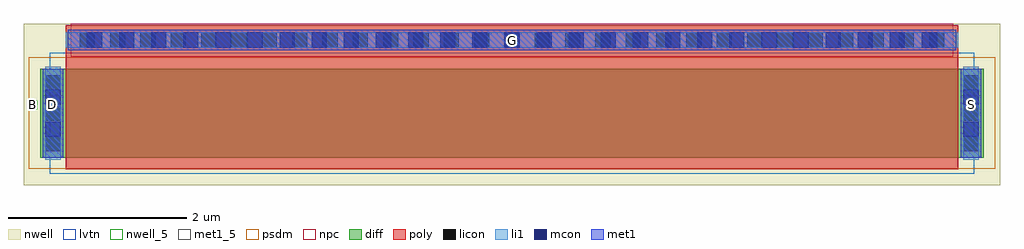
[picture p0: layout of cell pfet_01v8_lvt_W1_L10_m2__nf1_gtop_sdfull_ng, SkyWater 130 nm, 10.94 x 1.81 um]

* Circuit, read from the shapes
.subckt pfet_01v8_lvt_W1_L10_m2__nf1_gtop_sdfull_ng B D G S
XM1 S G D B sky130_fd_pr__pfet_01v8_lvt w=1 l=10
.ends

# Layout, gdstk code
import gdstk
lib = gdstk.Library(unit=1e-6, precision=1e-09)
def R(c, l, rs):  # rectangles x0, y0, x1, y1
    for r in rs: c.add(gdstk.rectangle(r[:2], r[2:], *l))
def A(c, l, x, y, w, h, nx, ny, dx, dy):  # array of equal rectangles
    R(c, l, [(x+i*dx, y+j*dy, x+i*dx+w, y+j*dy+h) for i in range(nx) for j in range(ny)])
nwell_5 = (64, 5)
nwell = (64, 20)
diff = (65, 20)
poly = (66, 20)
licon = (66, 44)
li1 = (67, 20)
mcon = (67, 44)
met1_5 = (68, 5)
met1 = (68, 20)
psdm = (94, 20)
npc = (95, 20)
lvtn = (125, 44)

sky130_fd_pr__pfet_01v8_ = lib.new_cell('sky130_fd_pr__pfet_01v8_lvt_8B8GM3')
R(sky130_fd_pr__pfet_01v8_, nwell, [(-5.47,-0.99,5.47,0.82)])
R(sky130_fd_pr__pfet_01v8_, diff, [(-5.29,-0.68,5.29,0.32)])
R(sky130_fd_pr__pfet_01v8_, poly, [(-5,-0.81,5,0.805)])
A(sky130_fd_pr__pfet_01v8_, licon, -5.23, -0.605, 0.17, 0.17, 1, 3, 0, 0.34)
A(sky130_fd_pr__pfet_01v8_, licon, 5.06, -0.605, 0.17, 0.17, 1, 3, 0, 0.34)
A(sky130_fd_pr__pfet_01v8_, licon, -4.845, 0.555, 0.17, 0.17, 29, 1, 0.34, 0)
R(sky130_fd_pr__pfet_01v8_, li1, [(-5.23,-0.7,-5.06,0.34), (5.06,-0.7,5.23,0.34), (-5,0.555,5,0.725)])
A(sky130_fd_pr__pfet_01v8_, mcon, -4.765, 0.555, 0.17, 0.17, 27, 1, 0.36, 0)
R(sky130_fd_pr__pfet_01v8_, mcon, [(-5.23,-0.445,-5.06,-0.275), (5.06,-0.445,5.23,-0.275), (-5.23,-0.085,-5.06,0.085), (5.06,-0.085,5.23,0.085)])
R(sky130_fd_pr__pfet_01v8_, met1, [(-5.26,-0.68,-5.03,0.32), (5.03,-0.68,5.26,0.32), (-4.98,0.525,4.98,0.755)])
R(sky130_fd_pr__pfet_01v8_, psdm, [(-5.415,-0.805,5.415,0.445)])
R(sky130_fd_pr__pfet_01v8_, npc, [(-4.945,0.455,4.945,0.825)])
R(sky130_fd_pr__pfet_01v8_, lvtn, [(-5.18,-0.86,5.18,0.5)])
sky130_fd_pr__pfet_01v8_.add(gdstk.Label('D', (-5.145,-0.18), layer=67, texttype=5))
sky130_fd_pr__pfet_01v8_.add(gdstk.Label('S', (5.145,-0.18), layer=67, texttype=5))
sky130_fd_pr__pfet_01v8_.add(gdstk.Label('G', (0,0.64), layer=67, texttype=5))

pfet_01v8_lvt_w1_l10_m2_ = lib.new_cell('pfet_01v8_lvt_W1_L10_m2__nf1_gtop_sdfull_ng')
R(pfet_01v8_lvt_w1_l10_m2_, nwell_5, [(0.05,0.855,0.15,0.955)])
R(pfet_01v8_lvt_w1_l10_m2_, nwell, [(0.05,0.855,0.15,0.955)])
R(pfet_01v8_lvt_w1_l10_m2_, met1_5, [(0.21,0.81,0.44,1.01), (10.5,0.81,10.73,1.01), (0.49,1.515,10.45,1.745)])
R(pfet_01v8_lvt_w1_l10_m2_, met1, [(0.21,0.81,0.44,1.01), (10.5,0.81,10.73,1.01), (0.49,1.515,10.45,1.745)])
pfet_01v8_lvt_w1_l10_m2_.add(gdstk.Reference(sky130_fd_pr__pfet_01v8_, (5.47,0.99)))
pfet_01v8_lvt_w1_l10_m2_.add(gdstk.Label('D', (0.325,0.91), layer=68, texttype=5))
pfet_01v8_lvt_w1_l10_m2_.add(gdstk.Label('S', (10.615,0.91), layer=68, texttype=5))
pfet_01v8_lvt_w1_l10_m2_.add(gdstk.Label('G', (5.47,1.63), layer=68, texttype=5))
pfet_01v8_lvt_w1_l10_m2_.add(gdstk.Label('B', (0.1,0.905), layer=64, texttype=5))

lib.write_gds('pfet_01v8_lvt_W1_L10_m2__nf1_gtop_sdfull_ng.gds')
